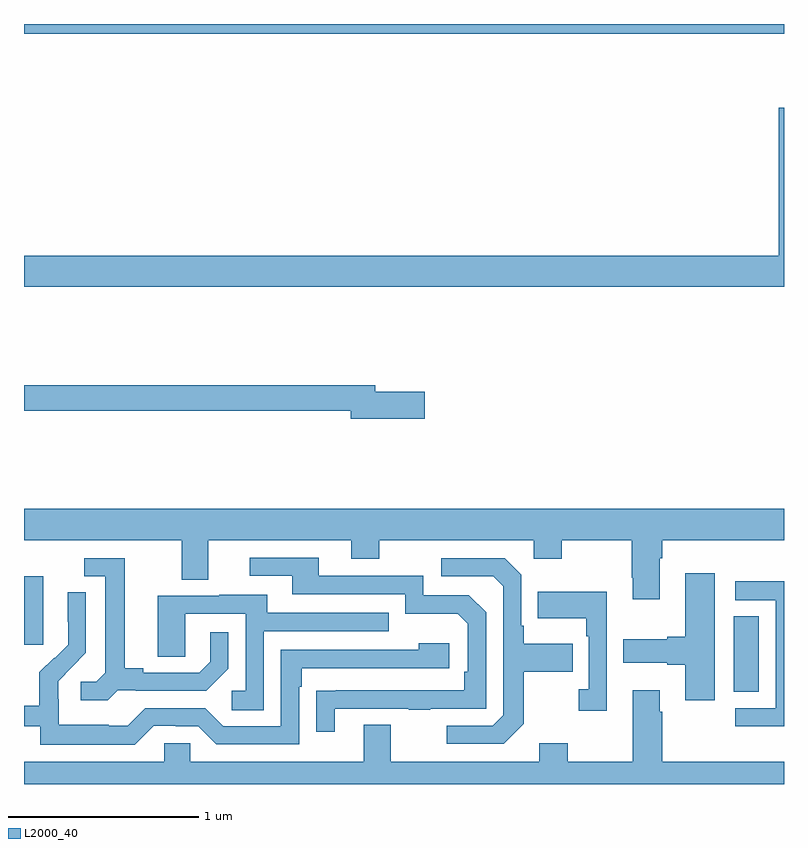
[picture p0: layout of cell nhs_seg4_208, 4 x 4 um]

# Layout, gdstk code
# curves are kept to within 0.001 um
import gdstk
lib = gdstk.Library(unit=1e-6, precision=1e-09)
def R(c, l, rs):  # rectangles x0, y0, x1, y1
    for r in rs: c.add(gdstk.rectangle(r[:2], r[2:], *l))
def P(c, l, *ps):  # polygons
    for p in ps: c.add(gdstk.Polygon(p, *l))
L2000_40 = (2000, 40)

nhs_seg4_208 = lib.new_cell('nhs_seg4_208')
R(nhs_seg4_208, L2000_40, [(124.736,765.385,124.867,765.782), (121,765.633,121.102,765.994), (121,768.848,125,768.9)])
P(nhs_seg4_208, L2000_40, [(125,768.46),(124.973,768.46),(124.973,767.68),(121,767.68),(121,767.516),(125,767.516)],
  [(123.109,766.964),(122.848,766.964),(122.848,767),(121,767),(121,766.864),(122.72,766.864),(122.72,766.822),(123.109,766.822)],
  [(124.345,766.088),(124.358,766.088),(124.358,766.184),(125,766.184),(125,766.348),(121,766.348),(121,766.184),(121.829,766.184),(121.829,765.976),(121.969,765.976),(121.969,766.184),(122.723,766.184),(122.723,766.085),(122.871,766.085),(122.871,766.184),(123.684,766.184),(123.684,766.085),(123.831,766.085),(123.831,766.184),(124.198,766.184),(124.198,765.985),(124.205,765.985),(124.205,765.873),(124.345,765.873)],
  [(122.635,765.297),(123.025,765.297),(123.025,765.292),(123.137,765.292),(123.137,765.297),(123.432,765.297),(123.432,765.804),(123.342,765.894),(123.102,765.894),(123.102,765.996),(122.551,765.996),(122.551,766.092),(122.187,766.092),(122.187,765.996),(122.411,765.996),(122.411,765.9),(123.006,765.9),(123.006,765.797),(123.283,765.797),(123.336,765.744),(123.336,765.49),(123.316,765.49),(123.316,765.393),(122.539,765.392),(122.539,765.174),(122.635,765.174)],
  [(123.631,765.217),(123.631,765.49),(123.887,765.49),(123.887,765.637),(123.631,765.637),(123.631,765.733),(123.618,765.733),(123.618,766.002),(123.531,766.089),(123.195,766.089),(123.195,765.993),(123.471,765.993),(123.522,765.942),(123.522,765.261),(123.468,765.207),(123.225,765.207),(123.225,765.111),(123.525,765.111)],
  [(121.494,765.393),(121.588,765.393),(121.588,765.39),(121.96,765.39),(122.076,765.506),(122.076,765.7),(121.979,765.7),(121.979,765.543),(121.922,765.486),(121.627,765.486),(121.627,765.509),(121.531,765.509),(121.531,766.089),(121.317,766.089),(121.317,765.993),(121.427,765.993),(121.427,765.485),(121.38,765.438),(121.299,765.438),(121.299,765.341),(121.442,765.341)],
  [(124.636,766.009),(124.481,766.009),(124.481,765.674),(124.385,765.674),(124.385,765.661),(124.155,765.661),(124.155,765.539),(124.385,765.539),(124.385,765.527),(124.481,765.527),(124.481,765.342),(124.636,765.342)],
  [(125,765.966),(124.743,765.966),(124.743,765.867),(124.956,765.867),(124.956,765.3),(124.743,765.3),(124.743,765.204),(125,765.204)],
  [(124.068,765.913),(123.703,765.913),(123.703,765.773),(123.96,765.773),(123.96,765.677),(123.972,765.677),(123.972,765.398),(123.921,765.398),(123.921,765.285),(124.068,765.285)],
  [(121.683,765.207),(121.799,765.207),(121.799,765.204),(121.917,765.204),(122.013,765.108),(122.448,765.108),(122.448,765.413),(122.461,765.413),(122.461,765.51),(123.238,765.51),(123.238,765.64),(123.077,765.64),(123.077,765.606),(122.352,765.606),(122.352,765.204),(122.049,765.204),(121.953,765.3),(121.638,765.3),(121.545,765.207),(121.445,765.207),(121.445,765.211),(121.182,765.211),(121.182,765.345),(121.18,765.345),(121.18,765.442),(121.326,765.59),(121.326,765.908),(121.23,765.908),(121.23,765.754),(121.232,765.754),(121.232,765.632),(121.161,765.561),(121.158,765.564),(121.081,765.487),(121.081,765.313),(121,765.313),(121,765.204),(121.086,765.204),(121.086,765.107),(121.583,765.107)],
  [(122.262,765.705),(122.921,765.705),(122.921,765.801),(122.281,765.801),(122.281,765.895),(122.027,765.895),(122.027,765.891),(121.703,765.891),(121.703,765.571),(121.848,765.571),(121.848,765.795),(122.166,765.795),(122.166,765.39),(122.094,765.39),(122.094,765.289),(122.262,765.289)],
  [(125,765.016),(124.358,765.016),(124.358,765.281),(124.345,765.281),(124.345,765.394),(124.205,765.394),(124.205,765.016),(123.861,765.016),(123.861,765.115),(123.713,765.115),(123.713,765.016),(122.929,765.016),(122.929,765.211),(122.789,765.211),(122.789,765.016),(121.875,765.016),(121.875,765.114),(121.737,765.114),(121.737,765.016),(121,765.016),(121,764.9),(125,764.9)])

lib.write_gds('nhs_seg4_208.gds')
